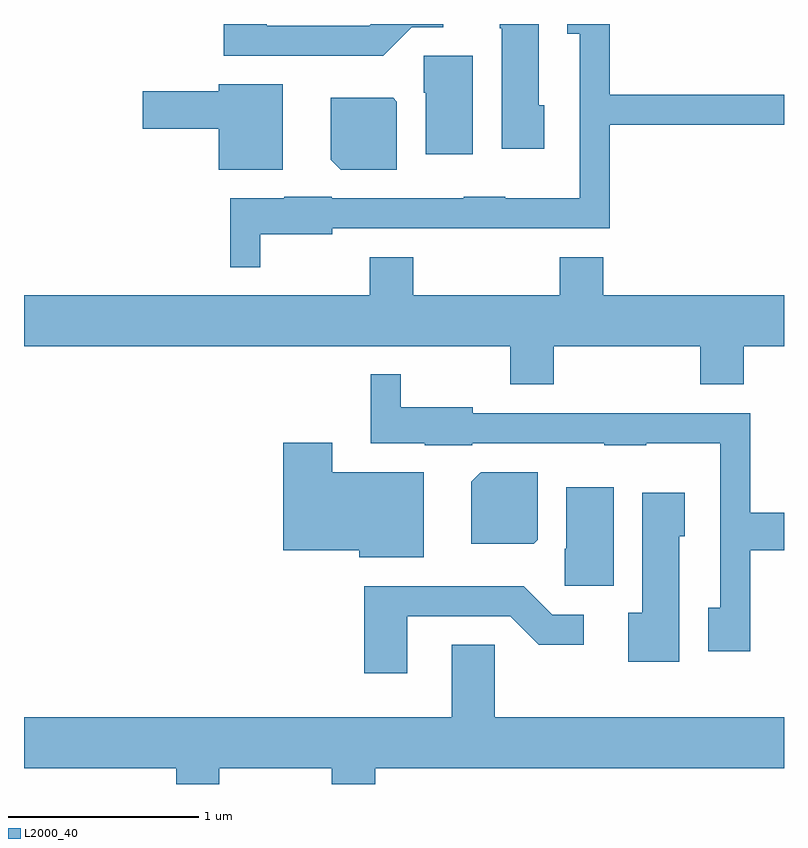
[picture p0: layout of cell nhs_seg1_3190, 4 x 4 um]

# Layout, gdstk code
import gdstk
lib = gdstk.Library(unit=1e-6, precision=1e-09)
def P(c, l, *ps):  # polygons
    for p in ps: c.add(gdstk.Polygon(p, *l))
L2000_40 = (2000, 40)

nhs_seg1_3190 = lib.new_cell('nhs_seg1_3190')
P(nhs_seg1_3190, L2000_40, [(284.349,905.284),(284.319,905.284),(284.319,905.712),(284.116,905.712),(284.116,905.69),(284.126,905.69),(284.126,905.056),(284.349,905.056)],
  [(283.652,905.696),(283.818,905.696),(283.818,905.712),(283.437,905.712),(283.429,905.704),(282.889,905.704),(282.889,905.712),(282.661,905.712),(282.661,905.546),(283.502,905.546)],
  [(282.854,904.606),(283.234,904.606),(283.234,904.636),(284.694,904.636),(284.694,905.181),(285.611,905.181),(285.611,905.339),(284.694,905.339),(284.694,905.712),(284.471,905.712),(284.471,905.661),(284.536,905.661),(284.536,904.794),(284.145,904.794),(284.145,904.804),(283.925,904.804),(283.925,904.794),(283.23,904.794),(283.23,904.804),(282.98,904.804),(282.98,904.794),(282.696,904.794),(282.696,904.433),(282.854,904.433)],
  [(283.974,905.544),(283.716,905.544),(283.716,905.35),(283.726,905.35),(283.726,905.026),(283.974,905.026)],
  [(282.974,905.394),(282.636,905.394),(282.636,905.359),(282.236,905.359),(282.236,905.161),(282.636,905.161),(282.636,904.946),(282.974,904.946)],
  [(283.574,905.304),(283.554,905.324),(283.226,905.324),(283.226,904.997),(283.277,904.946),(283.574,904.946)],
  [(284.399,904.016),(285.171,904.016),(285.171,903.816),(285.399,903.816),(285.399,904.016),(285.611,904.016),(285.611,904.284),(284.659,904.284),(284.659,904.484),(284.431,904.484),(284.431,904.284),(283.659,904.284),(283.659,904.484),(283.431,904.484),(283.431,904.284),(281.611,904.284),(281.611,904.016),(284.171,904.016),(284.171,903.816),(284.399,903.816)],
  [(285.434,902.941),(285.611,902.941),(285.611,903.139),(285.434,903.139),(285.434,903.664),(283.974,903.664),(283.974,903.694),(283.594,903.694),(283.594,903.868),(283.436,903.868),(283.436,903.506),(283.72,903.506),(283.72,903.496),(283.97,903.496),(283.97,903.506),(284.665,903.506),(284.665,903.496),(284.885,903.496),(284.885,903.506),(285.276,903.506),(285.276,902.639),(285.211,902.639),(285.211,902.411),(285.434,902.411)],
  [(283.714,903.354),(283.234,903.354),(283.234,903.509),(282.976,903.509),(282.976,902.941),(283.376,902.941),(283.376,902.906),(283.714,902.906)],
  [(284.314,902.997),(284.314,903.354),(284.017,903.354),(284.013,903.35),(283.966,903.304),(283.966,902.976),(284.294,902.976)],
  [(284.714,903.274),(284.466,903.274),(284.466,902.95),(284.456,902.95),(284.456,902.756),(284.714,902.756)],
  [(285.059,903.016),(285.089,903.016),(285.089,903.244),(284.866,903.244),(284.866,902.614),(284.791,902.614),(284.791,902.356),(285.059,902.356)],
  [(283.629,902.596),(284.169,902.596),(284.319,902.446),(284.558,902.446),(284.558,902.604),(284.392,902.604),(284.242,902.754),(283.401,902.754),(283.401,902.296),(283.629,902.296)],
  [(282.639,901.796),(283.231,901.796),(283.231,901.712),(283.459,901.712),(283.459,901.796),(285.611,901.796),(285.611,902.064),(284.089,902.064),(284.089,902.444),(283.861,902.444),(283.861,902.064),(281.611,902.064),(281.611,901.796),(282.411,901.796),(282.411,901.712),(282.639,901.712)])

lib.write_gds('nhs_seg1_3190.gds')
